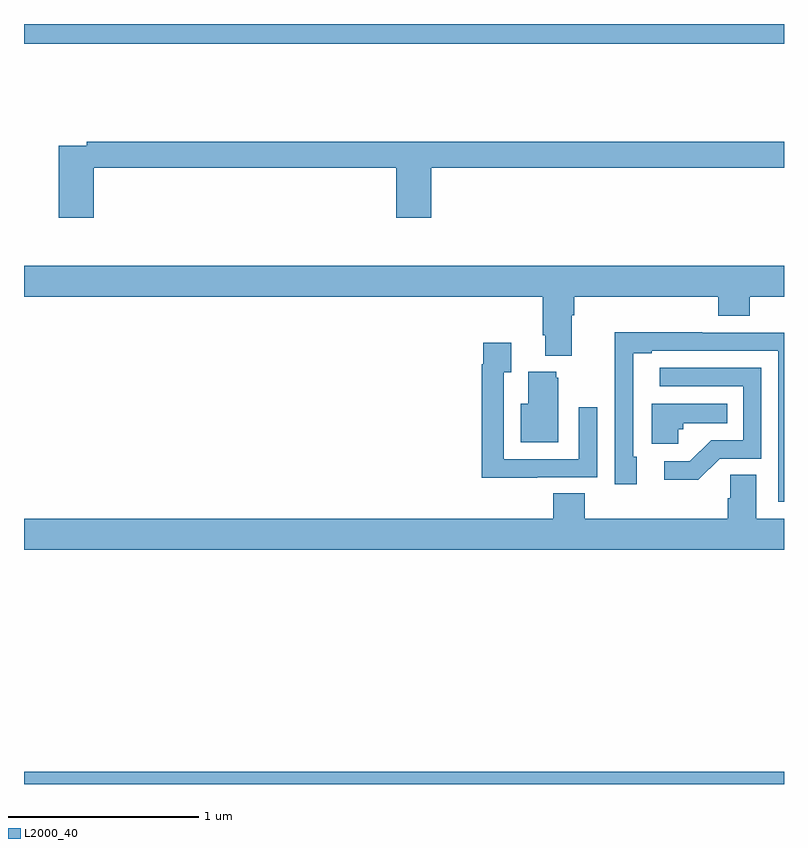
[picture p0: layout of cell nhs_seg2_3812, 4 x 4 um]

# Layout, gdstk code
import gdstk
lib = gdstk.Library(unit=1e-6, precision=1e-09)
def R(c, l, rs):  # rectangles x0, y0, x1, y1
    for r in rs: c.add(gdstk.rectangle(r[:2], r[2:], *l))
def P(c, l, *ps):  # polygons
    for p in ps: c.add(gdstk.Polygon(p, *l))
L2000_40 = (2000, 40)

nhs_seg2_3812 = lib.new_cell('nhs_seg2_3812')
R(nhs_seg2_3812, L2000_40, [(313,583.8,317,583.864), (313,587.696,317,587.8)])
P(nhs_seg2_3812, L2000_40, [(313.367,587.044),(314.96,587.044),(314.96,586.779),(315.143,586.779),(315.143,587.044),(317,587.044),(317,587.18),(313.33,587.18),(313.33,587.16),(313.184,587.16),(313.184,586.779),(313.367,586.779)],
  [(315.883,586.268),(315.896,586.268),(315.896,586.364),(316.655,586.364),(316.655,586.265),(316.82,586.265),(316.82,586.364),(317,586.364),(317,586.528),(313,586.528),(313,586.364),(315.731,586.364),(315.731,586.162),(315.743,586.162),(315.743,586.055),(315.883,586.055)],
  [(317,586.176),(316.571,586.176),(316.571,586.178),(316.108,586.178),(316.108,585.871),(316.11,585.871),(316.11,585.378),(316.225,585.378),(316.225,585.522),(316.206,585.522),(316.206,586.068),(316.303,586.068),(316.303,586.08),(316.971,586.08),(316.971,585.285),(317,585.285)],
  [(315.701,585.414),(316.017,585.414),(316.017,585.784),(315.921,585.784),(315.921,585.51),(315.525,585.51),(315.525,585.967),(315.565,585.967),(315.565,586.123),(315.417,586.123),(315.417,586.01),(315.409,586.01),(315.409,585.413),(315.701,585.413)],
  [(316.662,585.513),(316.881,585.513),(316.881,585.99),(316.347,585.99),(316.347,585.894),(316.785,585.894),(316.785,585.609),(316.616,585.609),(316.505,585.498),(316.371,585.498),(316.371,585.401),(316.549,585.401)],
  [(315.811,585.939),(315.8,585.939),(315.8,585.97),(315.653,585.97),(315.653,585.802),(315.614,585.802),(315.614,585.599),(315.811,585.599)],
  [(316.443,585.666),(316.47,585.666),(316.47,585.698),(316.7,585.698),(316.7,585.802),(316.304,585.802),(316.304,585.59),(316.443,585.59)],
  [(317,585.196),(316.855,585.196),(316.855,585.428),(316.716,585.428),(316.716,585.305),(316.703,585.305),(316.703,585.196),(315.95,585.196),(315.95,585.329),(315.785,585.329),(315.785,585.196),(313,585.196),(313,585.032),(317,585.032)])

lib.write_gds('nhs_seg2_3812.gds')
